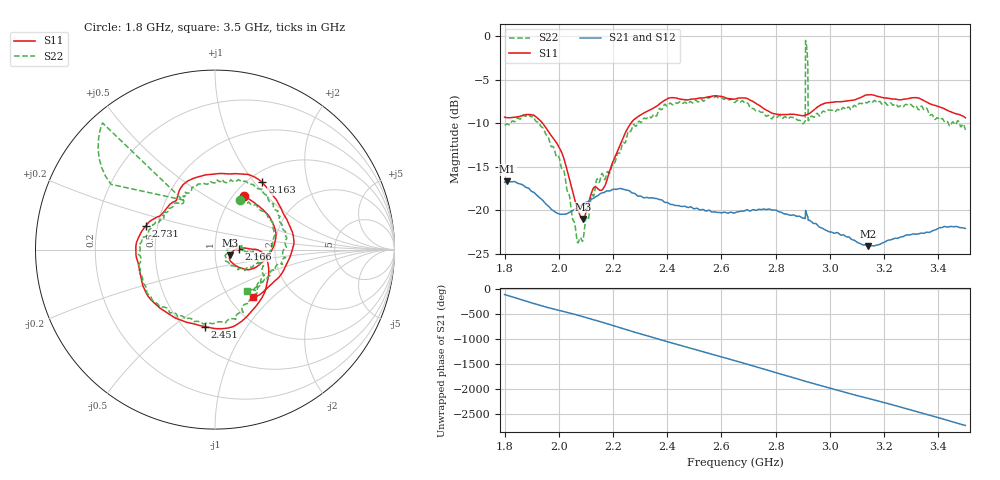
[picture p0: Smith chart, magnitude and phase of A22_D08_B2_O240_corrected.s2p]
! Created with skrf 1.9.0 (http://scikit-rf.org).
# Hz S RI R 50.0
!freq ReS11 ImS11 ReS21 ImS21 ReS12 ImS12 ReS22 ImS22
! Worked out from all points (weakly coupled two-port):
!   1601 points, 1.8 GHz to 3.5 GHz, reference 50 ohm
!   highest |S21| = -16.70 dB at 1.811 GHz (marker M1); lowest = -24.1 dB at 3.142 GHz (marker M2)
!   lowest |S11| = -21.0 dB at 2.089 GHz (marker M3), VSWR 1.20, Z = 59 - j3.73 ohm
!   |S11| at or under -10 dB: 1.94 GHz to 2.266 GHz (326 MHz wide, 15.5 % of centre)
!   |S22| runs from -23.8 to -0.5 dB; largest |S21 - S12| = 0.0028
!   S11 on the Smith chart (normalised r, x): 1.8 GHz: 1.12, +0.76; 2.166 GHz: 1.31, +0.02; 2.451 GHz: 0.63, -0.66; 2.731 GHz: 0.43, +0.14; 3.163 GHz: 1.16, +1.10; 3.5 GHz: 1.27, -0.77
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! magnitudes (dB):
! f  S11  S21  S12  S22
! 1.8 GHz  -9.3  -16.8  -16.8  -10.2
! 1.811 GHz  -9.4  -16.7  -16.7  -10.1
! 1.942 GHz  -10.1  -18.9  -18.9  -10.6
! 2.011 GHz  -13.4  -20.5  -20.5  -15.3
! 2.066 GHz  -19.5  -19.7  -19.7  -23.2
! 2.084 GHz  -20.9  -19.4  -19.4  -23.4
! 2.089 GHz  -21.0  -19.3  -19.3  -23.4
! 2.128 GHz  -17.4  -18.6  -18.6  -18.4
! 2.166 GHz  -17.4  -18.0  -18.0  -16.3
! 2.262 GHz  -10.2  -17.8  -17.8  -11.0
! 2.367 GHz  -7.9  -18.8  -18.7  -8.6
! 2.451 GHz  -7.3  -19.6  -19.6  -7.6
! 2.65 GHz  -7.2  -20.3  -20.3  -7.6
! 2.731 GHz  -7.8  -20.0  -20.0  -8.6
! 2.901 GHz  -9.2  -20.9  -20.9  -10.1
! 2.91 GHz  -9.1  -20.0  -20.0  -0.5
! 2.919 GHz  -9.0  -20.8  -20.8  -3.3
! 2.934 GHz  -8.7  -21.4  -21.4  -9.2
! 3.142 GHz  -6.8  -24.1  -24.1  -7.6
! 3.163 GHz  -6.8  -24.1  -24.1  -7.4
! 3.217 GHz  -7.2  -23.4  -23.4  -7.8
! 3.5 GHz  -9.4  -22.1  -22.1  -10.8
